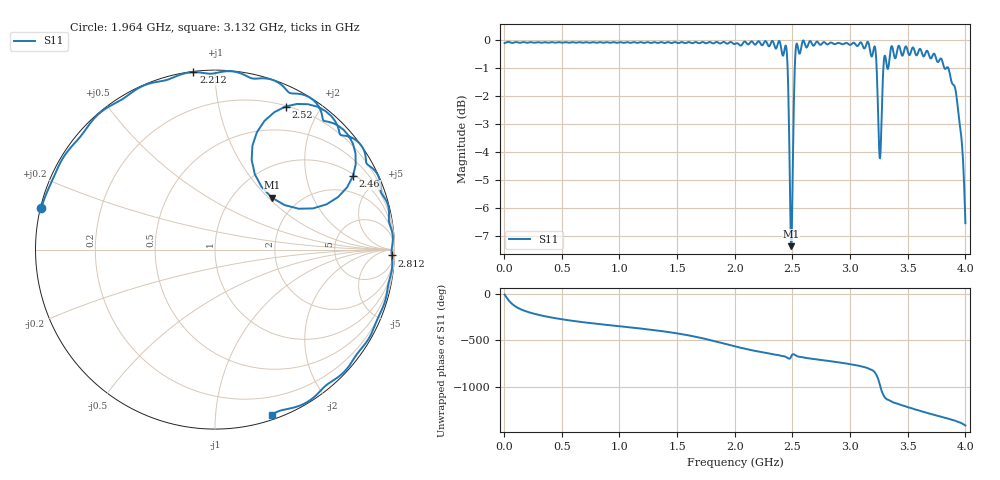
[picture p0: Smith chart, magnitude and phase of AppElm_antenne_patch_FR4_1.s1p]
! TOUCHSTONE file generated by CST MICROWAVE STUDIO
! Date and time: Tue Jun  7 20:03:40 2022
! Project name: AppElm_antenne_patch_FR4.cst
! Parameters = {L=33.75; W=58.5; e=0.035; h=1.6; lambda=0.190476; ls=120; w0=1.6; w1=0.533333; ws=120; y0=20; y1=23.8095}
! Header version: 2018
! Port assignment regex: !\s*Touchstone port\s*([0-9]+)\s*=\s*(CST MWS port|CST DS port)\s*([0-9]+|Zmin|Zmax)\s*\(\"(.*)\"\)(\s*mode\s*([0-9]+))?.*
! Touchstone port assignment:
! Touchstone port 1 = CST MWS port 1 ("")
# GHz S MA R 50
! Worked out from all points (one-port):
!   1000 points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, 4 MHz to 4 GHz, reference 50 ohm
!   lowest |S11| = -7.3 dB at 2.488 GHz (marker M1), VSWR 2.50, Z = 74.3 + j52.6 ohm
!   |S11| at or under -10 dB: nowhere
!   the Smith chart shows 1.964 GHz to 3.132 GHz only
!   S11 on the Smith chart (normalised r, x): 1.964 GHz: 0.00, +0.12; 2.212 GHz: 0.00, +0.89; 2.46 GHz: 1.09, +3.70; 2.52 GHz: 0.21, +1.59; 2.812 GHz: 22, -50; 3.132 GHz: 0.04, -1.40
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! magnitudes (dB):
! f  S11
! 4 MHz  -0.1
! 504 MHz  -0.1
! 1.004 GHz  -0.1
! 1.504 GHz  -0.1
! 1.964 GHz  -0.1
! 2.004 GHz  -0.1
! 2.212 GHz  0.0
! 2.436 GHz  -0.2
! 2.448 GHz  -0.3
! 2.46 GHz  -1.2
! 2.476 GHz  -4.5
! 2.488 GHz  -7.3
! 2.504 GHz  -4.2
! 2.52 GHz  -1.0
! 2.532 GHz  -0.2
! 2.544 GHz  -0.2
! 2.812 GHz  -0.1
! 3.004 GHz  -0.2
! 3.132 GHz  -0.2
! 3.212 GHz  -0.2
! 3.248 GHz  -3.4
! 3.26 GHz  -4.2
! 3.304 GHz  -0.6
! 3.504 GHz  -0.4
! 3.856 GHz  -1.0
! 3.936 GHz  -2.5
! 3.968 GHz  -3.6
! 4 GHz  -6.5
